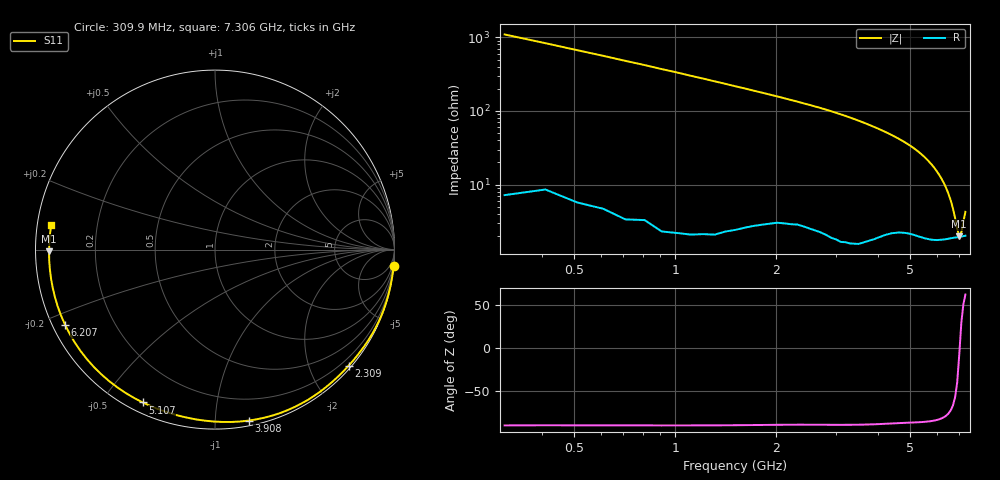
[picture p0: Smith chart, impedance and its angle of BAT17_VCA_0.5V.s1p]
! Infineon Technologies  Discrete & RF Semiconductors
! BAT17
! VCA = 0.5 V
! One-Port S-Parameters
# Hz  S  MA  R  50
!f  S11
!Hz  Mag  Ang
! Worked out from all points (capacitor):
!   71 points, 309.9 MHz to 7.306 GHz, reference 50 ohm
!   read as one part to ground: C = 464 fF near 309.9 MHz
!   lowest |Z| = 1.98 ohm at 7.006 GHz (marker M1)
!   series resonance near 7.025 GHz, so ESL is about 1.1 nH
!   S11 on the Smith chart (normalised r, x): 309.9 MHz: 0, -22; 2.309 GHz: 0.06, -2.68; 3.908 GHz: 0.04, -1.21; 5.107 GHz: 0.04, -0.63; 6.207 GHz: 0.04, -0.24; 7.306 GHz: 0.04, +0.08
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3.0985e8  0.9994 -5.2
8.096e8  0.9982 -13.6
1.2094e9  0.9973 -20.6
1.6092e9  0.994 -27.8
2.10895e9  0.988 -37.1
2.30885e9  0.9861 -40.9
2.70865e9  0.9847 -49.0
3.0085e9  0.9843 -55.7
3.2084e9  0.9834 -60.4
3.50825e9  0.9806 -68.1
3.8081e9  0.9736 -76.2
3.90805e9  0.9711 -78.9
4.10795e9  0.9647 -84.6
4.30785e9  0.958 -90.4
4.50775e9  0.9521 -96.4
4.70765e9  0.9472 -102.5
4.90755e9  0.9438 -108.8
5.10745e9  0.9421 -115.3
5.30735e9  0.9413 -122.0
5.6072e9  0.9401 -132.4
5.90705e9  0.9381 -142.9
6.007e9  0.9373 -146.4
6.2069e9  0.9346 -153.3
6.4068e9  0.9318 -160.1
6.50675e9  0.9303 -163.4
6.70665e9  0.9277 -170.0
7.0065e9  0.9245 -179.4
7.30635e9  0.9226 171.4
